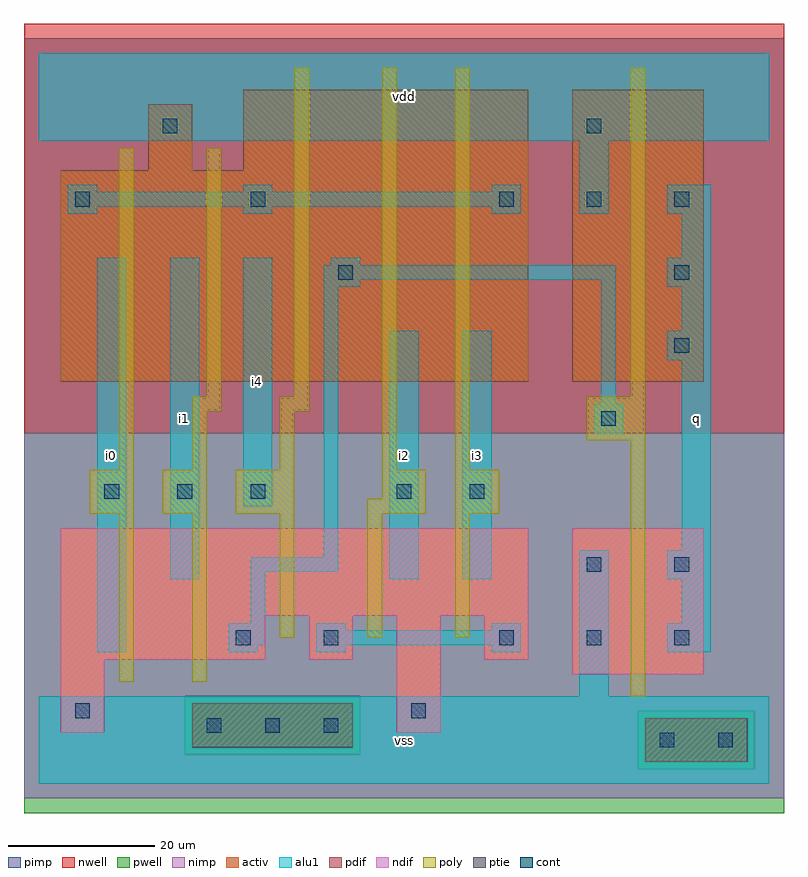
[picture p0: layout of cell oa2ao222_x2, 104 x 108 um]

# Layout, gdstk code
import gdstk
lib = gdstk.Library(unit=1e-6, precision=1e-09)
def R(c, l, rs):  # rectangles x0, y0, x1, y1
    for r in rs: c.add(gdstk.rectangle(r[:2], r[2:], *l))
def A(c, l, x, y, w, h, nx, ny, dx, dy):  # array of equal rectangles
    R(c, l, [(x+i*dx, y+j*dy, x+i*dx+w, y+j*dy+h) for i in range(nx) for j in range(ny)])
ndif = (3, 0)
pdif = (4, 0)
ptie = (6, 0)
cont = (25, 0)
pwell = (41, 0)
nwell = (42, 0)
activ = (43, 0)
pimp = (44, 0)
nimp = (45, 0)
poly = (46, 0)
alu1 = (49, 0)

oa2ao222_x2 = lib.new_cell('oa2ao222_x2')
R(oa2ao222_x2, ndif, [(3,7,9,17), (49,7,55,23), (73,15,91,35), (3,17,31,23), (37,17,43,23), (61,17,67,23), (3,23,67,35)])
R(oa2ao222_x2, pdif, [(3,55,67,84), (73,55,91,95), (15,84,21,93), (28,84,67,95)])
R(oa2ao222_x2, ptie, [(83,3,97,9), (21,5,43,11)])
A(oa2ao222_x2, cont, 23, 7, 2, 2, 3, 1, 8, 0)
A(oa2ao222_x2, cont, 63, 19, 2, 2, 3, 2, 12, 60)
A(oa2ao222_x2, cont, 9, 39, 2, 2, 3, 1, 10, 0)
R(oa2ao222_x2, cont, [(85,5,87,7), (93,5,95,7), (5,9,7,11), (51,9,53,11), (27,19,29,21), (39,19,41,21), (75,29,77,31), (87,29,89,31), (49,39,51,41), (59,39,61,41), (77,49,79,51), (87,59,89,61), (41,69,43,71), (87,69,89,71), (5,79,7,81), (29,79,31,81), (17,89,19,91), (75,89,77,91)])
R(oa2ao222_x2, pwell, [(-2,-4,102,48)])
R(oa2ao222_x2, nwell, [(-2,48,102,104)])
R(oa2ao222_x2, activ, [(83,3,97,9), (21,5,43,11), (3,7,9,17), (49,7,55,23), (73,15,91,35), (3,17,31,23), (37,17,43,23), (61,17,67,23), (3,23,67,35), (3,55,67,84), (73,55,91,95), (15,84,21,93), (28,84,67,95)])
R(oa2ao222_x2, pimp, [(82,2,98,10), (20,4,44,12), (-2,48,102,102)])
R(oa2ao222_x2, nimp, [(-2,-2,102,2), (-2,2,82,4), (98,2,102,10), (-2,4,20,12), (44,4,82,10), (44,10,102,12), (-2,12,102,48)])
A(oa2ao222_x2, poly, 33, 20, 2, 17, 3, 1, 12, 0)
R(oa2ao222_x2, poly, [(81,12,83,47), (11,14,13,37), (21,14,23,37), (7,37,13,43), (17,37,23,43), (27,37,35,43), (45,37,53,39), (57,37,63,43), (47,39,53,43), (11,43,13,87), (21,43,23,51), (33,43,35,51), (47,43,49,98), (57,43,59,98), (75,47,83,53), (21,51,25,53), (33,51,37,53), (23,53,25,87), (35,53,37,98), (81,53,83,98)])
A(oa2ao222_x2, alu1, 86, 58, 6, 4, 1, 3, 0, 10)
R(oa2ao222_x2, alu1, [(0,0,100,12), (74,12,78,32), (8,18,12,72), (26,18,30,19), (38,18,42,19), (62,18,66,19), (86,18,92,22), (26,19,31,22), (38,19,66,21), (38,21,42,22), (62,21,66,22), (29,22,31,29), (88,22,92,28), (18,28,22,72), (48,28,52,62), (58,28,62,62), (86,28,92,32), (29,29,41,31), (39,31,41,68), (88,32,92,58), (28,38,32,72), (76,48,80,52), (77,52,79,69), (88,62,92,68), (39,68,44,69), (39,69,79,71), (40,71,44,72), (88,72,92,78), (4,78,8,79), (28,78,32,79), (62,78,66,79), (74,78,78,88), (4,79,66,81), (4,81,8,82), (28,81,32,82), (62,81,66,82), (0,88,100,100)])
oa2ao222_x2.add(gdstk.Label('i0', (10,45), layer=49, texttype=0))
oa2ao222_x2.add(gdstk.Label('i1', (20,50), layer=49, texttype=0))
oa2ao222_x2.add(gdstk.Label('i4', (30,55), layer=49, texttype=0))
oa2ao222_x2.add(gdstk.Label('vss', (50,6), layer=49, texttype=0))
oa2ao222_x2.add(gdstk.Label('i2', (50,45), layer=49, texttype=0))
oa2ao222_x2.add(gdstk.Label('i3', (60,45), layer=49, texttype=0))
oa2ao222_x2.add(gdstk.Label('vdd', (50,94), layer=49, texttype=0))
oa2ao222_x2.add(gdstk.Label('q', (90,50), layer=49, texttype=0))

lib.write_gds('oa2ao222_x2.gds')
